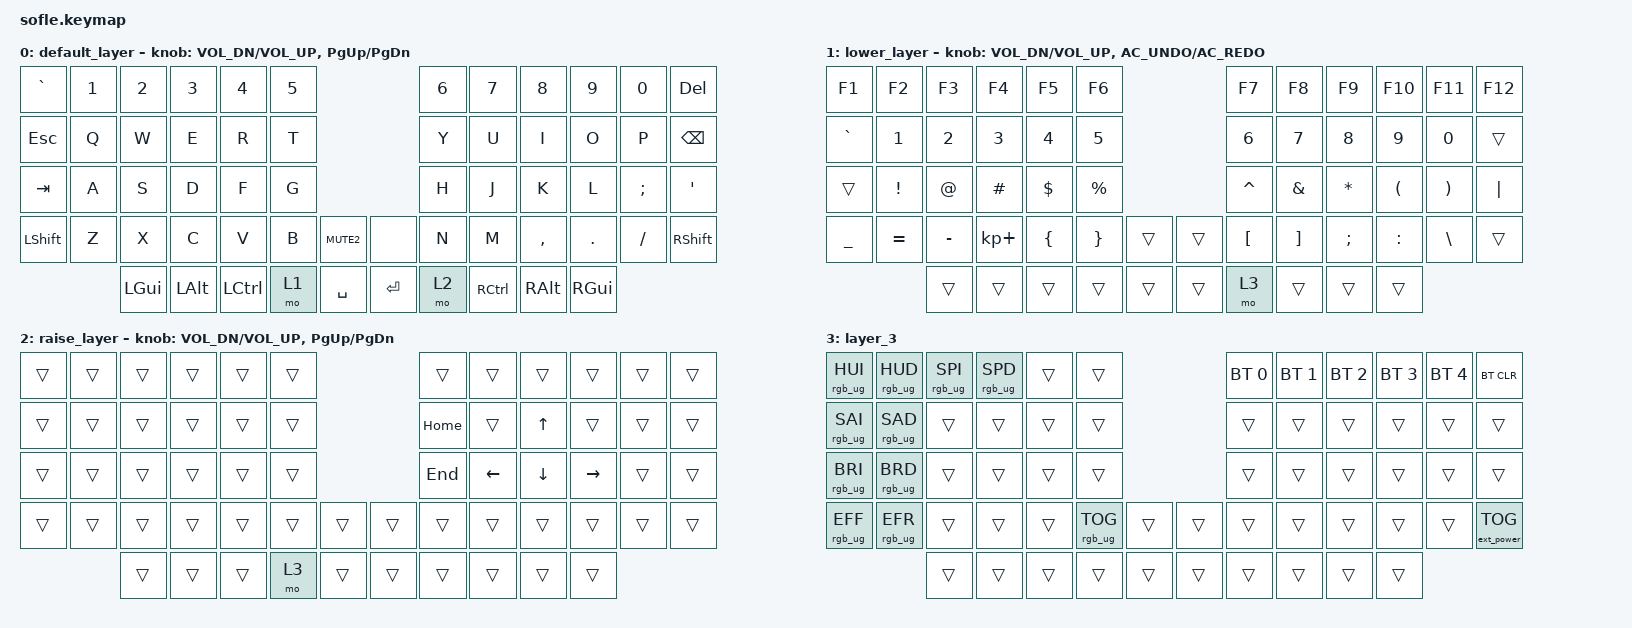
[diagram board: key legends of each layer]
/*
 * Copyright (c) 2020 The ZMK Contributors
 *
 * SPDX-License-Identifier: MIT
 */

#include <behaviors.dtsi>
#include <dt-bindings/zmk/bt.h>
#include <dt-bindings/zmk/ext_power.h>
#include <dt-bindings/zmk/keys.h>
#include <dt-bindings/zmk/rgb.h>

&led_strip {
    chain-length = <35>;
};

&left_encoder {
    resolution = <2>;
};

/ {
    keymap {
        compatible = "zmk,keymap";

        default_layer {
            // ------------------------------------------------------------------------------------------------------------
            // |  `    |  1  |  2  |  3   |  4   |  5   |                   |  6   |  7    |  8    |  9   |   0   |  DEL  |
            // |  ESC  |  Q  |  W  |  E   |  R   |  T   |                   |  Y   |  U    |  I    |  O   |   P   | BKSPC |
            // |  TAB  |  A  |  S  |  D   |  F   |  G   |                   |  H   |  J    |  K    |  L   |   ;   |   '   |
            // | SHIFT |  Z  |  X  |  C   |  V   |  B   |  MUTE  |  |       |  N   |  M    |  ,    |  .   |   /   | SHIFT |
            //               | GUI | ALT  | CTRL | LOWER|  ENTER |  | SPACE | RAISE| CTRL  | ALT   | GUI  |

            bindings = <
&kp GRAVE  &kp N1  &kp N2    &kp N3    &kp N4     &kp N5                          &kp N6  &kp N7     &kp N8     &kp N9    &kp N0    &kp DEL
&kp ESC    &kp Q   &kp W     &kp E     &kp R      &kp T                           &kp Y   &kp U      &kp I      &kp O     &kp P     &kp BSPC
&kp TAB    &kp A   &kp S     &kp D     &kp F      &kp G                           &kp H   &kp J      &kp K      &kp L     &kp SEMI  &kp SQT
&kp LSHFT  &kp Z   &kp X     &kp C     &kp V      &kp B   &kp K_MUTE2    &none    &kp N   &kp M      &kp COMMA  &kp DOT   &kp FSLH  &kp RSHFT
                   &kp LGUI  &kp LALT  &kp LCTRL  &mo 1   &kp SPACE      &kp RET  &mo 2   &kp RCTRL  &kp RALT   &kp RGUI
            >;

            sensor-bindings = <&inc_dec_kp C_VOL_DN C_VOL_UP &inc_dec_kp PG_UP PG_DN>;
        };

        lower_layer {
            // TODO: Some binds are waiting for shifted keycode support.
            // ------------------------------------------------------------------------------------------------------------
            // |   F1  | F2  | F3  |  F4  |  F5  |  F6  |                   |  F7  |   F8  |   F9  |  F10 |  F11  |  F12  |
            // | `     |   1 |   2 |   3  |   4  |   5  |                   |   6  |   7   |   8   |   9  |    0  |       |
            // |       |  !  |  @  |  #   |  $   |  %   |                   |  ^   |  &    |  *    |  (   |   )   |   |   |
            // |   _   |  =  |  -  |  +   |  {   |  }   |        |  |       |  [   |  ]    |  ;    |  :   |   \   |       |
            //               |     |      |      |      |        |  |       |layer3|       |       |      |

            bindings = <
&kp F1     &kp F2     &kp F3     &kp F4       &kp F5    &kp F6                       &kp F7     &kp F8    &kp F9    &kp F10    &kp F11   &kp F12
&kp GRAVE  &kp N1     &kp N2     &kp N3       &kp N4    &kp N5                       &kp N6     &kp N7    &kp N8    &kp N9     &kp N0    &trans
&trans     &kp EXCL   &kp AT     &kp HASH     &kp DLLR  &kp PRCNT                    &kp CARET  &kp AMPS  &kp STAR  &kp LPAR   &kp RPAR  &kp PIPE
&kp UNDER  &kp EQUAL  &kp MINUS  &kp KP_PLUS  &kp LBRC  &kp RBRC   &trans    &trans  &kp LBKT   &kp RBKT  &kp SEMI  &kp COLON  &kp BSLH  &trans
                      &trans     &trans       &trans    &trans     &trans    &trans  &mo 3      &trans    &trans    &trans
            >;

            sensor-bindings = <&inc_dec_kp C_VOL_DN C_VOL_UP &inc_dec_kp C_AC_UNDO C_AC_REDO>;
        };

        raise_layer {
            // ------------------------------------------------------------------------------------------------------------
            // |      |      |      |       |       |      |                |      |      |       |      |       |       |
            // |      |      |      |       |       |      |                |      |      |   ^   |      |       |       |
            // |      |      |      |       |       |      |                |      |   <= |   v   |  =>  |       |       |
            // |      |      |      |       |       |      |      |  |      |      |      |       |      |       |       |
            //               |      |       |       |layer3|      |  |      |      |      |       |      |

            bindings = <
&trans  &trans  &trans  &trans  &trans  &trans                    &trans    &trans    &trans        &trans     &trans  &trans
&trans  &trans  &trans  &trans  &trans  &trans                    &kp HOME  &trans    &kp UP_ARROW  &trans     &trans  &trans
&trans  &trans  &trans  &trans  &trans  &trans                    &kp END   &kp LEFT  &kp DOWN      &kp RIGHT  &trans  &trans
&trans  &trans  &trans  &trans  &trans  &trans  &trans    &trans  &trans    &trans    &trans        &trans     &trans  &trans
                &trans  &trans  &trans  &mo 3   &trans    &trans  &trans    &trans    &trans        &trans
            >;

            sensor-bindings = <&inc_dec_kp C_VOL_DN C_VOL_UP &inc_dec_kp PG_UP PG_DN>;
        };

        layer_3 {
            // -------------------------------------------------------------------------------------------------------------
            // | hue+ | hue- | fast | slow  |       |       |                |      |      |       |      |       |        |
            // | sat+ | sat- |      |       |       |       |                |      |      |       |      |       |        |
            // |bright| dim  |      |       |       |       |                |      |      |       |      |       |        |
            // | fx+  | fx+  |      |       |       |rgb tog|      |  |      |      |      |       |      |       | EP_TOG |
            //               |      |       |       |       |      |  |      |      |      |       |      |

            bindings = <
&rgb_ug RGB_HUI  &rgb_ug RGB_HUD  &rgb_ug RGB_SPI  &rgb_ug RGB_SPD  &trans  &trans                             &bt BT_SEL 0  &bt BT_SEL 1  &bt BT_SEL 2  &bt BT_SEL 3  &bt BT_SEL 4  &bt BT_CLR
&rgb_ug RGB_SAI  &rgb_ug RGB_SAD  &trans           &trans           &trans  &trans                             &trans        &trans        &trans        &trans        &trans        &trans
&rgb_ug RGB_BRI  &rgb_ug RGB_BRD  &trans           &trans           &trans  &trans                             &trans        &trans        &trans        &trans        &trans        &trans
&rgb_ug RGB_EFF  &rgb_ug RGB_EFR  &trans           &trans           &trans  &rgb_ug RGB_TOG  &trans    &trans  &trans        &trans        &trans        &trans        &trans        &ext_power EP_TOG
                                  &trans           &trans           &trans  &trans           &trans    &trans  &trans        &trans        &trans        &trans
            >;
        };
    };
};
